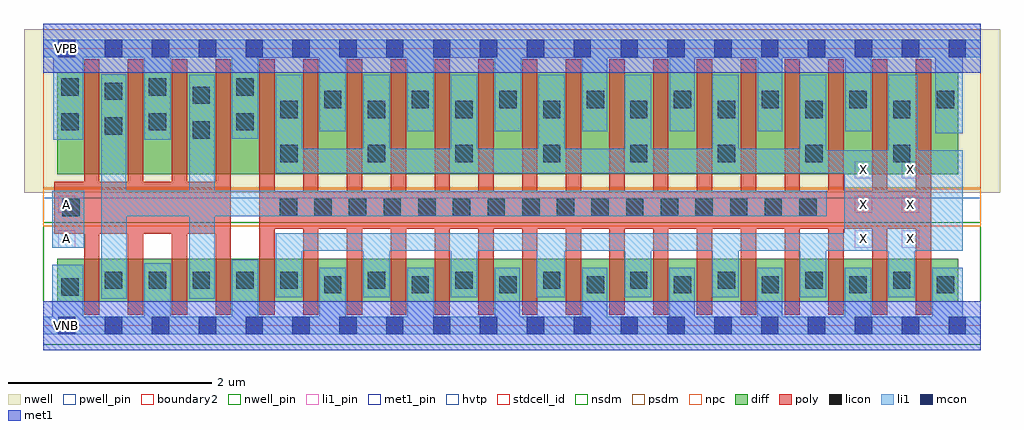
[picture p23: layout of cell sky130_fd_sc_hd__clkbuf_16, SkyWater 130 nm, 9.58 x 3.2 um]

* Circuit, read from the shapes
.subckt sky130_fd_sc_hd__clkbuf_16 A VGND VNB VPB VPWR X
XM1 n1 A VGND VNB sky130_fd_pr__nfet_01v8 w=0.42 l=0.15 m=4
XM2 X n1 VGND VNB sky130_fd_pr__nfet_01v8 w=0.42 l=0.15 m=16
XM3 n1 A VPWR VPB sky130_fd_pr__pfet_01v8_hvt w=1 l=0.15 m=4
XM4 X n1 VPWR VPB sky130_fd_pr__pfet_01v8_hvt w=1 l=0.15 m=16
.ends

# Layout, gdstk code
import gdstk
lib = gdstk.Library(unit=1e-6, precision=1e-09)
def R(c, l, rs):  # rectangles x0, y0, x1, y1
    for r in rs: c.add(gdstk.rectangle(r[:2], r[2:], *l))
def A(c, l, x, y, w, h, nx, ny, dx, dy):  # array of equal rectangles
    R(c, l, [(x+i*dx, y+j*dy, x+i*dx+w, y+j*dy+h) for i in range(nx) for j in range(ny)])
def P(c, l, *ps):  # polygons
    for p in ps: c.add(gdstk.Polygon(p, *l))
nwell_pin = (64, 16)
nwell = (64, 20)
diff = (65, 20)
poly = (66, 20)
licon = (66, 44)
li1_pin = (67, 16)
li1 = (67, 20)
mcon = (67, 44)
met1_pin = (68, 16)
met1 = (68, 20)
hvtp = (78, 44)
stdcell_id = (81, 4)
nsdm = (93, 44)
psdm = (94, 20)
npc = (95, 20)
pwell_pin = (122, 16)
boundary2 = (236, 0)

sky130_fd_sc_hd__clkbuf_ = lib.new_cell('sky130_fd_sc_hd__clkbuf_16')
R(sky130_fd_sc_hd__clkbuf_, nwell_pin, [(0.145,2.635,0.315,2.805), (0.145,2.635,0.315,2.805)])
R(sky130_fd_sc_hd__clkbuf_, nwell, [(-0.19,1.305,9.39,2.91)])
R(sky130_fd_sc_hd__clkbuf_, diff, [(0.135,0.235,8.98,0.655), (0.135,1.485,8.98,2.485)])
P(sky130_fd_sc_hd__clkbuf_, poly, [(8.715,2.615),(8.565,2.615),(8.565,1.325),(8.285,1.325),(8.285,2.615),(8.135,2.615),(8.135,1.325),(7.855,1.325),(7.855,2.615),(7.705,2.615),(7.705,1.325),(7.425,1.325),(7.425,2.615),(7.275,2.615),(7.275,1.325),(6.995,1.325),(6.995,2.615),(6.845,2.615),(6.845,1.325),(6.565,1.325),(6.565,2.615),(6.415,2.615),(6.415,1.325),(6.135,1.325),(6.135,2.615),(5.985,2.615),(5.985,1.325),(5.705,1.325),(5.705,2.615),(5.555,2.615),(5.555,1.325),(5.28,1.325),(5.28,2.615),(5.13,2.615),(5.13,1.325),(4.85,1.325),(4.85,2.615),(4.7,2.615),(4.7,1.325),(4.42,1.325),(4.42,2.615),(4.27,2.615),(4.27,1.325),(3.99,1.325),(3.99,2.615),(3.84,2.615),(3.84,1.325),(3.56,1.325),(3.56,2.615),(3.41,2.615),(3.41,1.325),(3.13,1.325),(3.13,2.615),(2.98,2.615),(2.98,1.325),(2.7,1.325),(2.7,2.615),(2.55,2.615),(2.55,1.325),(2.27,1.325),(2.27,2.615),(2.12,2.615),(2.12,0.105),(2.27,0.105),(2.27,0.95),(2.55,0.95),(2.55,0.105),(2.7,0.105),(2.7,0.95),(2.98,0.95),(2.98,0.105),(3.13,0.105),(3.13,0.95),(3.41,0.95),(3.41,0.105),(3.56,0.105),(3.56,0.95),(3.84,0.95),(3.84,0.105),(3.99,0.105),(3.99,0.95),(4.27,0.95),(4.27,0.105),(4.42,0.105),(4.42,0.95),(4.7,0.95),(4.7,0.105),(4.85,0.105),(4.85,0.95),(5.13,0.95),(5.13,0.105),(5.28,0.105),(5.28,0.95),(5.555,0.95),(5.555,0.105),(5.705,0.105),(5.705,0.95),(5.985,0.95),(5.985,0.105),(6.135,0.105),(6.135,0.95),(6.415,0.95),(6.415,0.105),(6.565,0.105),(6.565,0.95),(6.845,0.95),(6.845,0.105),(6.995,0.105),(6.995,0.95),(7.275,0.95),(7.275,0.105),(7.425,0.105),(7.425,0.95),(7.705,0.95),(7.705,0.105),(7.855,0.105),(7.855,0.95),(8.135,0.95),(8.135,0.105),(8.285,0.105),(8.285,0.95),(8.565,0.95),(8.565,0.105),(8.715,0.105)],
  [(1.84,2.615),(1.69,2.615),(1.69,1.41),(1.41,1.41),(1.41,2.615),(1.26,2.615),(1.26,1.41),(0.98,1.41),(0.98,2.615),(0.83,2.615),(0.83,1.41),(0.55,1.41),(0.55,2.615),(0.4,2.615),(0.4,1.41),(0.105,1.41),(0.105,0.9),(0.4,0.9),(0.4,0.105),(0.55,0.105),(0.55,0.9),(0.83,0.9),(0.83,0.105),(0.98,0.105),(0.98,0.9),(1.26,0.9),(1.26,0.105),(1.41,0.105),(1.41,0.9),(1.69,0.9),(1.69,0.105),(1.84,0.105)])
A(sky130_fd_sc_hd__clkbuf_, licon, 2.755, 0.315, 0.17, 0.17, 4, 2, 0.86, 1.82)
A(sky130_fd_sc_hd__clkbuf_, licon, 6.19, 0.315, 0.17, 0.17, 4, 2, 0.86, 1.82)
A(sky130_fd_sc_hd__clkbuf_, licon, 0.605, 0.36, 0.17, 0.17, 5, 1, 0.43, 0)
A(sky130_fd_sc_hd__clkbuf_, licon, 3.185, 0.36, 0.17, 0.17, 3, 1, 0.86, 0)
A(sky130_fd_sc_hd__clkbuf_, licon, 5.76, 0.36, 0.17, 0.17, 4, 2, 0.86, 1.245)
A(sky130_fd_sc_hd__clkbuf_, licon, 2.32, 1.075, 0.17, 0.17, 16, 1, 0.34, 0)
A(sky130_fd_sc_hd__clkbuf_, licon, 2.325, 1.605, 0.17, 0.17, 4, 2, 0.86, 0.43)
A(sky130_fd_sc_hd__clkbuf_, licon, 0.175, 1.915, 0.17, 0.17, 3, 2, 0.86, 0.34)
A(sky130_fd_sc_hd__clkbuf_, licon, 5.76, 2.035, 0.17, 0.17, 4, 1, 0.86, 0)
R(sky130_fd_sc_hd__clkbuf_, licon, [(0.175,0.295,0.345,0.465), (0.185,1.075,0.355,1.245), (1.465,1.835,1.635,2.005), (0.605,1.875,0.775,2.045), (1.465,2.175,1.635,2.345), (0.605,2.215,0.775,2.385)])
A(sky130_fd_sc_hd__clkbuf_, li1_pin, 7.965, 0.765, 0.17, 0.17, 1, 3, 0, 0.34)
A(sky130_fd_sc_hd__clkbuf_, li1_pin, 8.425, 0.765, 0.17, 0.17, 1, 3, 0, 0.34)
R(sky130_fd_sc_hd__clkbuf_, li1_pin, [(0.145,0.765,0.315,0.935), (0.145,1.105,0.315,1.275)])
R(sky130_fd_sc_hd__clkbuf_, li1, [(0.085,0.765,0.4,1.325)])
P(sky130_fd_sc_hd__clkbuf_, li1, [(9.2,2.805),(0,2.805),(0,2.635),(0.095,2.635),(0.095,1.825),(0.39,1.825),(0.39,2.635),(0.99,2.635),(0.99,1.825),(1.25,1.825),(1.25,2.635),(1.85,2.635),(1.85,1.835),(2.11,1.835),(2.11,2.63),(2.71,2.63),(2.71,1.905),(2.97,1.905),(2.97,2.63),(3.57,2.63),(3.57,1.905),(3.83,1.905),(3.83,2.63),(4.43,2.63),(4.43,1.905),(4.69,1.905),(4.69,2.63),(5.29,2.63),(5.29,1.905),(5.535,1.905),(5.535,2.63),(6.15,2.63),(6.15,1.905),(6.395,1.905),(6.395,2.63),(7.01,2.63),(7.01,1.905),(7.255,1.905),(7.255,2.63),(7.87,2.63),(7.87,1.905),(8.125,1.905),(8.125,2.635),(8.755,2.635),(8.755,1.89),(9.025,1.89),(9.025,2.635),(9.2,2.635)],
  [(9.025,1.72),(8.585,1.72),(8.585,2.46),(8.295,2.46),(8.295,1.72),(7.685,1.72),(7.685,2.46),(7.425,2.46),(7.425,1.735),(6.825,1.735),(6.825,2.46),(6.565,2.46),(6.565,1.735),(5.965,1.735),(5.965,2.46),(5.705,2.46),(5.705,1.735),(5.12,1.735),(5.12,2.46),(4.86,2.46),(4.86,1.735),(4.26,1.735),(4.26,2.46),(4,2.46),(4,1.735),(3.4,1.735),(3.4,2.46),(3.14,2.46),(3.14,1.735),(2.54,1.735),(2.54,2.46),(2.28,2.46),(2.28,1.495),(7.86,1.495),(7.86,0.905),(2.28,0.905),(2.28,0.28),(2.54,0.28),(2.54,0.735),(3.14,0.735),(3.14,0.28),(3.4,0.28),(3.4,0.735),(4,0.735),(4,0.28),(4.26,0.28),(4.26,0.735),(4.845,0.735),(4.845,0.28),(5.12,0.28),(5.12,0.735),(5.705,0.735),(5.705,0.28),(5.965,0.28),(5.965,0.735),(6.565,0.735),(6.565,0.28),(6.825,0.28),(6.825,0.735),(7.425,0.735),(7.425,0.28),(7.685,0.28),(7.685,0.735),(8.295,0.735),(8.295,0.28),(8.555,0.28),(8.555,0.735),(9.025,0.735)],
  [(9.2,0.085),(9.025,0.085),(9.025,0.565),(8.725,0.565),(8.725,0.085),(8.125,0.085),(8.125,0.565),(7.865,0.565),(7.865,0.085),(7.255,0.085),(7.255,0.565),(7.005,0.565),(7.005,0.085),(6.395,0.085),(6.395,0.565),(6.145,0.565),(6.145,0.085),(5.535,0.085),(5.535,0.565),(5.29,0.565),(5.29,0.085),(4.675,0.085),(4.675,0.565),(4.43,0.565),(4.43,0.085),(3.83,0.085),(3.83,0.565),(3.57,0.565),(3.57,0.085),(2.97,0.085),(2.97,0.565),(2.71,0.565),(2.71,0.085),(2.11,0.085),(2.11,0.645),(1.85,0.645),(1.85,0.085),(1.25,0.085),(1.25,0.61),(0.99,0.61),(0.99,0.085),(0.39,0.085),(0.39,0.595),(0.085,0.595),(0.085,0.085),(0,0.085),(0,-0.085),(9.2,-0.085)],
  [(7.69,1.325),(1.68,1.325),(1.68,2.46),(1.43,2.46),(1.43,1.325),(0.815,1.325),(0.815,2.465),(0.57,2.465),(0.57,0.265),(0.82,0.265),(0.82,1.075),(1.43,1.075),(1.43,0.265),(1.68,0.265),(1.68,1.075),(7.69,1.075)])
A(sky130_fd_sc_hd__clkbuf_, mcon, 0.145, -0.085, 0.17, 0.17, 20, 2, 0.46, 2.72)
R(sky130_fd_sc_hd__clkbuf_, met1_pin, [(0.145,-0.085,0.315,0.085), (0.145,2.635,0.315,2.805)])
R(sky130_fd_sc_hd__clkbuf_, met1, [(0,-0.24,9.2,0.24), (0,2.48,9.2,2.96)])
R(sky130_fd_sc_hd__clkbuf_, hvtp, [(0,1.25,9.2,2.72)])
R(sky130_fd_sc_hd__clkbuf_, stdcell_id, [(0,0,9.2,2.72)])
R(sky130_fd_sc_hd__clkbuf_, nsdm, [(0,-0.19,9.2,1.015)])
R(sky130_fd_sc_hd__clkbuf_, psdm, [(0,1.355,9.2,2.91)])
R(sky130_fd_sc_hd__clkbuf_, npc, [(0,0.975,9.2,1.345)])
R(sky130_fd_sc_hd__clkbuf_, pwell_pin, [(0.145,-0.085,0.315,0.085), (0.145,-0.085,0.315,0.085)])
R(sky130_fd_sc_hd__clkbuf_, boundary2, [(0,0,9.2,2.72)])
sky130_fd_sc_hd__clkbuf_.add(gdstk.Label('X', (8.05,1.53), layer=67, texttype=5))
sky130_fd_sc_hd__clkbuf_.add(gdstk.Label('X', (8.51,1.53), layer=67, texttype=5))
sky130_fd_sc_hd__clkbuf_.add(gdstk.Label('X', (8.51,1.19), layer=67, texttype=5))
sky130_fd_sc_hd__clkbuf_.add(gdstk.Label('X', (8.05,1.19), layer=67, texttype=5))
sky130_fd_sc_hd__clkbuf_.add(gdstk.Label('X', (8.05,0.85), layer=67, texttype=5))
sky130_fd_sc_hd__clkbuf_.add(gdstk.Label('X', (8.51,0.85), layer=67, texttype=5))
sky130_fd_sc_hd__clkbuf_.add(gdstk.Label('A', (0.23,0.85), layer=67, texttype=5))
sky130_fd_sc_hd__clkbuf_.add(gdstk.Label('A', (0.23,1.19), layer=67, texttype=5))
sky130_fd_sc_hd__clkbuf_.add(gdstk.Label('VNB', (0.23,0), layer=64, texttype=59))
sky130_fd_sc_hd__clkbuf_.add(gdstk.Label('VNB', (0.23,0), layer=64, texttype=59))
sky130_fd_sc_hd__clkbuf_.add(gdstk.Label('VPB', (0.23,2.72), layer=64, texttype=5))
sky130_fd_sc_hd__clkbuf_.add(gdstk.Label('VPB', (0.23,2.72), layer=64, texttype=5))
sky130_fd_sc_hd__clkbuf_.add(gdstk.Label('VGND', (0.23,0), layer=68, texttype=5))
sky130_fd_sc_hd__clkbuf_.add(gdstk.Label('VPWR', (0.23,2.72), layer=68, texttype=5))
sky130_fd_sc_hd__clkbuf_.add(gdstk.Label('clkbuf_16', (0,0), layer=83, texttype=44))

lib.write_gds('sky130_fd_sc_hd__clkbuf_16.gds')
